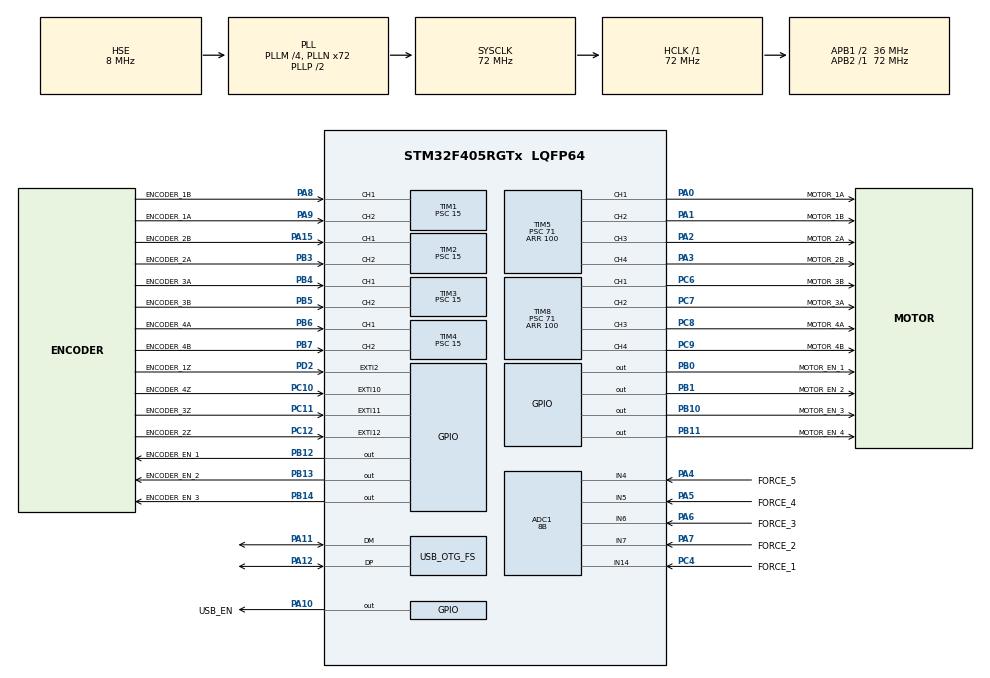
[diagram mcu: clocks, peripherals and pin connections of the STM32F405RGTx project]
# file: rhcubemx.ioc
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ADC1.Channel-0\#ChannelRegularConversion=ADC_CHANNEL_4
ADC1.Channel-1\#ChannelRegularConversion=ADC_CHANNEL_5
ADC1.Channel-2\#ChannelRegularConversion=ADC_CHANNEL_6
ADC1.Channel-3\#ChannelRegularConversion=ADC_CHANNEL_7
ADC1.Channel-4\#ChannelRegularConversion=ADC_CHANNEL_14
ADC1.ContinuousConvMode=ENABLE
ADC1.DMAContinuousRequests=ENABLE
ADC1.NbrOfConversion=5
ADC1.NbrOfConversionFlag=1
ADC1.Rank-0\#ChannelRegularConversion=1
ADC1.Rank-1\#ChannelRegularConversion=2
ADC1.Rank-2\#ChannelRegularConversion=3
ADC1.Rank-3\#ChannelRegularConversion=4
ADC1.Rank-4\#ChannelRegularConversion=5
ADC1.Resolution=ADC_RESOLUTION_8B
ADC1.SamplingTime-0\#ChannelRegularConversion=ADC_SAMPLETIME_56CYCLES
ADC1.SamplingTime-1\#ChannelRegularConversion=ADC_SAMPLETIME_56CYCLES
ADC1.SamplingTime-2\#ChannelRegularConversion=ADC_SAMPLETIME_56CYCLES
ADC1.SamplingTime-3\#ChannelRegularConversion=ADC_SAMPLETIME_56CYCLES
ADC1.SamplingTime-4\#ChannelRegularConversion=ADC_SAMPLETIME_56CYCLES
ADC1.ScanConvMode=ENABLE
ADC1.master=1
Dma.ADC1.0.Direction=DMA_PERIPH_TO_MEMORY
Dma.ADC1.0.FIFOMode=DMA_FIFOMODE_DISABLE
Dma.ADC1.0.Instance=DMA2_Stream0
Dma.ADC1.0.MemDataAlignment=DMA_MDATAALIGN_BYTE
Dma.ADC1.0.MemInc=DMA_MINC_ENABLE
Dma.ADC1.0.Mode=DMA_CIRCULAR
Dma.ADC1.0.PeriphDataAlignment=DMA_PDATAALIGN_BYTE
Dma.ADC1.0.PeriphInc=DMA_PINC_DISABLE
Dma.ADC1.0.Priority=DMA_PRIORITY_HIGH
Dma.Request0=ADC1
Mcu.Family=STM32F4
Mcu.Name=STM32F405RGTx
Mcu.Package=LQFP64
NVIC.DMA2_Stream0_IRQn=true\:0\:0\:false\:false\:true\:false
NVIC.OTG_FS_IRQn=true\:0\:0\:false\:false\:true\:false
NVIC.PriorityGroup=NVIC_PRIORITYGROUP_2
PA0-WKUP.GPIO_Label=MOTOR_1A
PA0-WKUP.Signal=S_TIM5_CH1
PA1.GPIO_Label=MOTOR_1B
PA1.Signal=S_TIM5_CH2
PA10.GPIO_Label=USB_EN
PA10.Signal=GPIO_Output
PA11.Mode=Device_Only
PA11.Signal=USB_OTG_FS_DM
PA12.Mode=Device_Only
PA12.Signal=USB_OTG_FS_DP
PA15.GPIO_Label=ENCODER_2B
PA15.Signal=S_TIM2_CH1_ETR
PA2.GPIO_Label=MOTOR_2A
PA2.Signal=S_TIM5_CH3
PA3.GPIO_Label=MOTOR_2B
PA3.Signal=S_TIM5_CH4
PA4.GPIO_Label=FORCE_5
PA4.Signal=ADCx_IN4
PA5.GPIO_Label=FORCE_4
PA5.Signal=ADCx_IN5
PA6.GPIO_Label=FORCE_3
PA6.Signal=ADCx_IN6
PA7.GPIO_Label=FORCE_2
PA7.Signal=ADCx_IN7
PA8.GPIO_Label=ENCODER_1B
PA8.Signal=S_TIM1_CH1
PA9.GPIO_Label=ENCODER_1A
PA9.Signal=S_TIM1_CH2
PB0.GPIO_Label=MOTOR_EN_1
PB0.Signal=GPIO_Output
PB1.GPIO_Label=MOTOR_EN_2
PB1.Signal=GPIO_Output
PB10.GPIO_Label=MOTOR_EN_3
PB10.Signal=GPIO_Output
PB11.GPIO_Label=MOTOR_EN_4
PB11.Signal=GPIO_Output
PB12.GPIO_Label=ENCODER_EN_1
PB12.Signal=GPIO_Output
PB13.GPIO_Label=ENCODER_EN_2
PB13.Signal=GPIO_Output
PB14.GPIO_Label=ENCODER_EN_3
PB14.Signal=GPIO_Output
PB3.GPIO_Label=ENCODER_2A
PB3.Signal=S_TIM2_CH2
PB4.GPIO_Label=ENCODER_3A
PB4.Signal=S_TIM3_CH1
PB5.GPIO_Label=ENCODER_3B
PB5.Signal=S_TIM3_CH2
PB6.GPIO_Label=ENCODER_4A
PB6.Signal=S_TIM4_CH1
PB7.GPIO_Label=ENCODER_4B
PB7.Signal=S_TIM4_CH2
PC10.GPIO_Label=ENCODER_4Z
PC10.Signal=GPXTI10
PC11.GPIO_Label=ENCODER_3Z
PC11.Signal=GPXTI11
PC12.GPIO_Label=ENCODER_2Z
PC12.Signal=GPXTI12
PC4.GPIO_Label=FORCE_1
PC4.Signal=ADCx_IN14
PC6.GPIO_Label=MOTOR_3B
PC6.Signal=S_TIM8_CH1
PC7.GPIO_Label=MOTOR_3A
PC7.Signal=S_TIM8_CH2
PC8.GPIO_Label=MOTOR_4A
PC8.Signal=S_TIM8_CH3
PC9.GPIO_Label=MOTOR_4B
PC9.Signal=S_TIM8_CH4
PD2.GPIO_Label=ENCODER_1Z
PD2.Signal=GPXTI2
PH0-OSC_IN.Mode=HSE-External-Oscillator
PH0-OSC_IN.Signal=RCC_OSC_IN
PH1-OSC_OUT.Mode=HSE-External-Oscillator
PH1-OSC_OUT.Signal=RCC_OSC_OUT
ProjectManager.HeapSize=0x200
ProjectManager.StackSize=0x400
ProjectManager.TargetToolchain=MDK-ARM V5
RCC.48MHZClocksFreq_Value=48000000
RCC.AHBFreq_Value=72000000
RCC.APB1CLKDivider=RCC_HCLK_DIV2
RCC.APB1Freq_Value=36000000
RCC.APB1TimFreq_Value=72000000
RCC.APB2Freq_Value=72000000
RCC.APB2TimFreq_Value=72000000
RCC.CortexFreq_Value=72000000
RCC.HCLKFreq_Value=72000000
RCC.HSE_VALUE=8000000
RCC.HSI_VALUE=16000000
RCC.LSE_VALUE=32768
RCC.PLLM=4
RCC.PLLN=72
RCC.PLLQ=3
RCC.SYSCLKFreq_VALUE=72000000
RCC.SYSCLKSource=RCC_SYSCLKSOURCE_PLLCLK
RCC.VCOOutputFreq_Value=144000000
SH.ADCx_IN14.0=ADC1_IN14,IN14
SH.ADCx_IN4.0=ADC1_IN4,IN4
SH.ADCx_IN5.0=ADC1_IN5,IN5
SH.ADCx_IN6.0=ADC1_IN6,IN6
SH.ADCx_IN7.0=ADC1_IN7,IN7
SH.S_TIM1_CH1.0=TIM1_CH1,Encoder_Interface
SH.S_TIM1_CH2.0=TIM1_CH2,Encoder_Interface
SH.S_TIM2_CH1_ETR.0=TIM2_CH1,Encoder_Interface
SH.S_TIM2_CH2.0=TIM2_CH2,Encoder_Interface
SH.S_TIM3_CH1.0=TIM3_CH1,Encoder_Interface
SH.S_TIM3_CH2.0=TIM3_CH2,Encoder_Interface
SH.S_TIM4_CH1.0=TIM4_CH1,Encoder_Interface
SH.S_TIM4_CH2.0=TIM4_CH2,Encoder_Interface
SH.S_TIM5_CH1.0=TIM5_CH1,PWM Generation1 CH1
SH.S_TIM5_CH2.0=TIM5_CH2,PWM Generation2 CH2
SH.S_TIM5_CH3.0=TIM5_CH3,PWM Generation3 CH3
SH.S_TIM5_CH4.0=TIM5_CH4,PWM Generation4 CH4
SH.S_TIM8_CH1.0=TIM8_CH1,PWM Generation1 CH1
SH.S_TIM8_CH2.0=TIM8_CH2,PWM Generation2 CH2
SH.S_TIM8_CH3.0=TIM8_CH3,PWM Generation3 CH3
SH.S_TIM8_CH4.0=TIM8_CH4,PWM Generation4 CH4
TIM1.EncoderMode=TIM_ENCODERMODE_TI12
TIM1.Period=65535
TIM1.Prescaler=15
TIM2.EncoderMode=TIM_ENCODERMODE_TI12
TIM2.Period=65535
TIM2.Prescaler=15
TIM3.EncoderMode=TIM_ENCODERMODE_TI12
TIM3.Period=65535
TIM3.Prescaler=15
TIM4.EncoderMode=TIM_ENCODERMODE_TI12
TIM4.Period=65535
TIM4.Prescaler=15
TIM5.Channel-PWM\ Generation1\ CH1=TIM_CHANNEL_1
TIM5.Channel-PWM\ Generation2\ CH2=TIM_CHANNEL_2
TIM5.Channel-PWM\ Generation3\ CH3=TIM_CHANNEL_3
TIM5.Channel-PWM\ Generation4\ CH4=TIM_CHANNEL_4
TIM5.Period=100
TIM5.Prescaler=71
TIM8.Channel-PWM\ Generation1\ CH1=TIM_CHANNEL_1
TIM8.Channel-PWM\ Generation2\ CH2=TIM_CHANNEL_2
TIM8.Channel-PWM\ Generation3\ CH3=TIM_CHANNEL_3
TIM8.Channel-PWM\ Generation4\ CH4=TIM_CHANNEL_4
TIM8.Period=100
TIM8.Prescaler=71
USB_DEVICE.CLASS_NAME_FS=CUSTOMHID
USB_DEVICE.MANUFACTURER_STRING-CUSTOM_HID_FS=RH001
USB_DEVICE.PID_CUSTOMHID_FS=22140
USB_DEVICE.USBD_CUSTOMHID_OUTREPORT_BUF_SIZE-CUSTOM_HID_FS=64
USB_DEVICE.USBD_CUSTOM_HID_REPORT_DESC_SIZE-CUSTOM_HID_FS=33
USB_DEVICE.USBD_SELF_POWERED-CUSTOM_HID_FS=0
USB_DEVICE.VID-CUSTOM_HID_FS=1024
USB_DEVICE.VirtualMode-CUSTOM_HID_FS=CustomHid
USB_DEVICE.VirtualModeFS=Custom_Hid_FS
USB_OTG_FS.VirtualMode=Device_Only
VP_USB_DEVICE_VS_USB_DEVICE_CUSTOM_HID_FS.Mode=CUSTOM_HID_FS
board=rhcubemx

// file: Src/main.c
/**
  ******************************************************************************
  * @file           : main.c
  * @brief          : Main program body
  ******************************************************************************
  * This notice applies to any and all portions of this file
  * that are not between comment pairs USER CODE BEGIN and
  * USER CODE END. Other portions of this file, whether
  * inserted by the user or by software development tools
  * are owned by their respective copyright owners.
  *
  * Copyright (c) 2018 STMicroelectronics International N.V.
  * All rights reserved.
  *
  * Redistribution and use in source and binary forms, with or without
  * modification, are permitted, provided that the following conditions are met:
  *
  * 1. Redistribution of source code must retain the above copyright notice,
  *    this list of conditions and the following disclaimer.
  * 2. Redistributions in binary form must reproduce the above copyright notice,
  *    this list of conditions and the following disclaimer in the documentation
  *    and/or other materials provided with the distribution.
  * 3. Neither the name of STMicroelectronics nor the names of other
  *    contributors to this software may be used to endorse or promote products
  *    derived from this software without specific written permission.
  * 4. This software, including modifications and/or derivative works of this
  *    software, must execute solely and exclusively on microcontroller or
  *    microprocessor devices manufactured by or for STMicroelectronics.
  * 5. Redistribution and use of this software other than as permitted under
  *    this license is void and will automatically terminate your rights under
  *    this license.
  *
  * THIS SOFTWARE IS PROVIDED BY STMICROELECTRONICS AND CONTRIBUTORS "AS IS"
  * AND ANY EXPRESS, IMPLIED OR STATUTORY WARRANTIES, INCLUDING, BUT NOT
  * LIMITED TO, THE IMPLIED WARRANTIES OF MERCHANTABILITY, FITNESS FOR A
  * PARTICULAR PURPOSE AND NON-INFRINGEMENT OF THIRD PARTY INTELLECTUAL PROPERTY
  * RIGHTS ARE DISCLAIMED TO THE FULLEST EXTENT PERMITTED BY LAW. IN NO EVENT
  * SHALL STMICROELECTRONICS OR CONTRIBUTORS BE LIABLE FOR ANY DIRECT, INDIRECT,
  * INCIDENTAL, SPECIAL, EXEMPLARY, OR CONSEQUENTIAL DAMAGES (INCLUDING, BUT NOT
  * LIMITED TO, PROCUREMENT OF SUBSTITUTE GOODS OR SERVICES; LOSS OF USE, DATA,
  * OR PROFITS; OR BUSINESS INTERRUPTION) HOWEVER CAUSED AND ON ANY THEORY OF
  * LIABILITY, WHETHER IN CONTRACT, STRICT LIABILITY, OR TORT (INCLUDING
  * NEGLIGENCE OR OTHERWISE) ARISING IN ANY WAY OUT OF THE USE OF THIS SOFTWARE,
  * EVEN IF ADVISED OF THE POSSIBILITY OF SUCH DAMAGE.
  *
  ******************************************************************************
  */
#include "main.h"
#include "stm32f4xx_hal.h"
#include "adc.h"
#include "dma.h"
#include "tim.h"
#include "usb_device.h"
#include "gpio.h"

/* USER CODE BEGIN Includes */
#include "usbd_custom_hid_if.h"
#include "motor.h"
#include "usr_init.h"
#include "rhpacket.h"
#include <cstring>
/* USER CODE END Includes */

/* USER CODE BEGIN PV */
/* Private variables ---------------------------------------------------------*/
Motor motor[4] = {Motor(motor_init[0]),Motor(motor_init[1]),Motor(motor_init[2]),Motor(motor_init[3])};
uint16_t Motor::m_interval = 10;
static int16_t CtrlInterv = 10;
/* USER CODE END PV */

void SystemClock_Config(void);

/* USER CODE BEGIN PFP */
/* Private function prototypes -----------------------------------------------*/
void dataFilter(uint8_t *oriData, uint8_t *filtereddData);
/* USER CODE END PFP */

int main(void)
{

  /* MCU Configuration----------------------------------------------------------*/

  /* Reset of all peripherals, Initializes the Flash interface and the Systick. */
  HAL_Init();

  /* Configure the system clock */
  SystemClock_Config();

  /* Initialize all configured peripherals */
  MX_GPIO_Init();
  MX_DMA_Init();
  MX_ADC1_Init();
  MX_TIM1_Init();
  MX_TIM2_Init();
  MX_TIM3_Init();
  MX_TIM4_Init();
  MX_TIM5_Init();
  MX_TIM8_Init();
  MX_USB_DEVICE_Init();
  /* USER CODE BEGIN 2 */

  static uint8_t force[20] = {0};
	static unsigned char msg[64] = {0};
	HAL_ADC_Start_DMA(&hadc1,(uint32_t *)force, 20);
	static uint8_t filteredForce[5] = {0};
	for(int i = 0; i < 4; i++)
	{
		motor[i].disable();
	}
  /* USER CODE END 2 */

  /* Infinite loop */
  while (1)
  {

	/* USER CODE BEGIN 3 */
		if(CtrlInterv <= 0)
		{
			CtrlInterv = Motor::m_interval;
			//start motor functions
			for(int i = 0; i <4; i++)
			{
				motor[i].pid_process();
				motor[i].start();
			}

			//sending report to PC
			dataFilter(force, filteredForce);
			BuildRH_TraceForceMsg(motor, filteredForce, msg);
			USB_Send_64_bytes(msg);
		}
  }
  /* USER CODE END 3 */

}

void SystemClock_Config(void)
{

  RCC_OscInitTypeDef RCC_OscInitStruct;
  RCC_ClkInitTypeDef RCC_ClkInitStruct;

    /**Configure the main internal regulator output voltage
    */
  __HAL_RCC_PWR_CLK_ENABLE();

  __HAL_PWR_VOLTAGESCALING_CONFIG(PWR_REGULATOR_VOLTAGE_SCALE1);

    /**Initializes the CPU, AHB and APB busses clocks
    */
  RCC_OscInitStruct.OscillatorType = RCC_OSCILLATORTYPE_HSE;
  RCC_OscInitStruct.HSEState = RCC_HSE_ON;
  RCC_OscInitStruct.PLL.PLLState = RCC_PLL_ON;
  RCC_OscInitStruct.PLL.PLLSource = RCC_PLLSOURCE_HSE;
  RCC_OscInitStruct.PLL.PLLM = 4;
  RCC_OscInitStruct.PLL.PLLN = 72;
  RCC_OscInitStruct.PLL.PLLP = RCC_PLLP_DIV2;
  RCC_OscInitStruct.PLL.PLLQ = 3;
  if (HAL_RCC_OscConfig(&RCC_OscInitStruct) != HAL_OK)
  {
    _Error_Handler(__FILE__, __LINE__);
  }

    /**Initializes the CPU, AHB and APB busses clocks
    */
  RCC_ClkInitStruct.ClockType = RCC_CLOCKTYPE_HCLK|RCC_CLOCKTYPE_SYSCLK
                              |RCC_CLOCKTYPE_PCLK1|RCC_CLOCKTYPE_PCLK2;
  RCC_ClkInitStruct.SYSCLKSource = RCC_SYSCLKSOURCE_PLLCLK;
  RCC_ClkInitStruct.AHBCLKDivider = RCC_SYSCLK_DIV1;
  RCC_ClkInitStruct.APB1CLKDivider = RCC_HCLK_DIV2;
  RCC_ClkInitStruct.APB2CLKDivider = RCC_HCLK_DIV1;

  if (HAL_RCC_ClockConfig(&RCC_ClkInitStruct, FLASH_LATENCY_2) != HAL_OK)
  {
    _Error_Handler(__FILE__, __LINE__);
  }

    /**Configure the Systick interrupt time
    */
  HAL_SYSTICK_Config(HAL_RCC_GetHCLKFreq()/1000);

    /**Configure the Systick
    */
  HAL_SYSTICK_CLKSourceConfig(SYSTICK_CLKSOURCE_HCLK);

  /* SysTick_IRQn interrupt configuration */
  HAL_NVIC_SetPriority(SysTick_IRQn, 0, 0);
}

/* USER CODE BEGIN 4 */
void HAL_SYSTICK_Callback(void)
{
	CtrlInterv--;
}

void dataFilter(uint8_t *oriData, uint8_t *filtereddData)
{
  int sum = 0;
	uint8_t size = 4;
	uint8_t temp = 0;
	uint8_t data[20];
	uint8_t tempdata[20];
	memset(tempdata, 0, 20);
	memset(data, 0, 20);
	memcpy(tempdata, oriData, 20);
	for(int i = 0; i < 20; i++)
	{
		data[i] = tempdata[i%4*5+i/4];
	}
  uint8_t *dataptr = data;
	for(int k = 0; k < 5; k++)
	{
		for(int j = 0; j < size-1; j++)
		{
			for (int i = 0; i < size-j; i++)
			{
        if ( dataptr[i] > dataptr[i+1] )
        {
           temp = dataptr[i];
           dataptr[i] = dataptr[i+1];
           dataptr[i+1] = temp;
        }
			}
		}
		for(int count=1; count < size-1; count++)
		sum += data[count];
		filtereddData[k] = (uint8_t)(sum/(size-2));
		dataptr = &data[4*k];
		sum = 0;
	}
}
/* USER CODE END 4 */

void _Error_Handler(char *file, int line)
{
  while(1)
  {
  }
}

/************************ (C) COPYRIGHT STMicroelectronics *****END OF FILE****/
